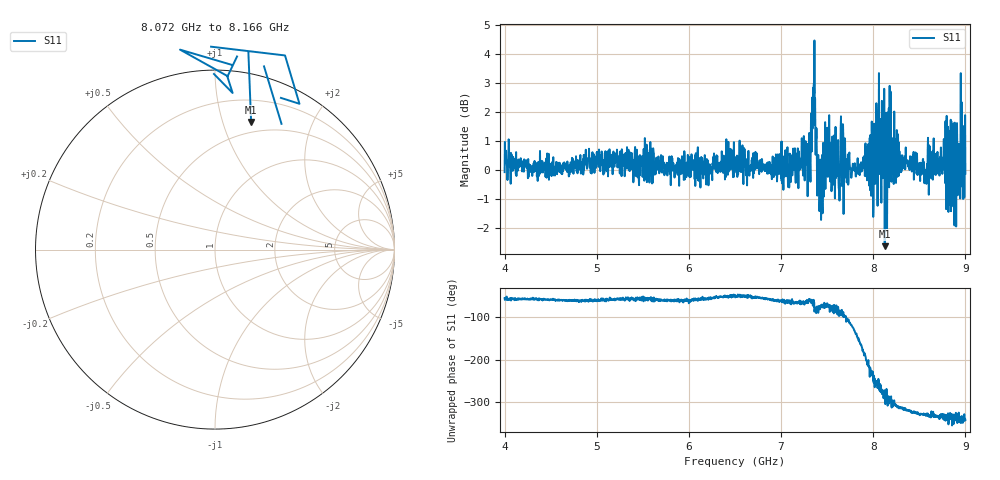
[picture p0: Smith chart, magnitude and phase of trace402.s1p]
! Created with skrf 1.8.0 (http://scikit-rf.org).
# Hz S RI R 50.0
!freq ReS11 ImS11
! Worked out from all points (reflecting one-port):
!   1601 points, 4 GHz to 9 GHz, reference 50 ohm
!   lowest |S11| = -2.6 dB at 8.125 GHz (marker M1), VSWR 6.65, Z = 19.9 + j62.2 ohm
!   phase of S11 starts at -56 deg and turns -286 deg over the sweep
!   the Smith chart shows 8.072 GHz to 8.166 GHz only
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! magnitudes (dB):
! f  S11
! 4 GHz  -0.1
! 4.625 GHz  -0.1
! 5.25 GHz  -0.1
! 5.875 GHz  0.1
! 6.5 GHz  0.1
! 7.125 GHz  -0.1
! 7.297 GHz  0.8
! 7.347 GHz  2.8
! 7.362 GHz  4.5
! 7.397 GHz  -0.9
! 7.416 GHz  -1.4
! 7.503 GHz  0.7
! 7.609 GHz  0.8
! 7.669 GHz  0.5
! 7.75 GHz  0.1
! 7.962 GHz  1.1
! 7.981 GHz  0.2
! 8.05 GHz  1.3
! 8.066 GHz  -0.1
! 8.125 GHz  -2.6
! 8.166 GHz  1.2
! 8.216 GHz  0.9
! 8.375 GHz  0.3
! 8.562 GHz  -0.2
! 8.834 GHz  1.4
! 8.875 GHz  0.2
! 8.972 GHz  0.4
! 9 GHz  -0.1
